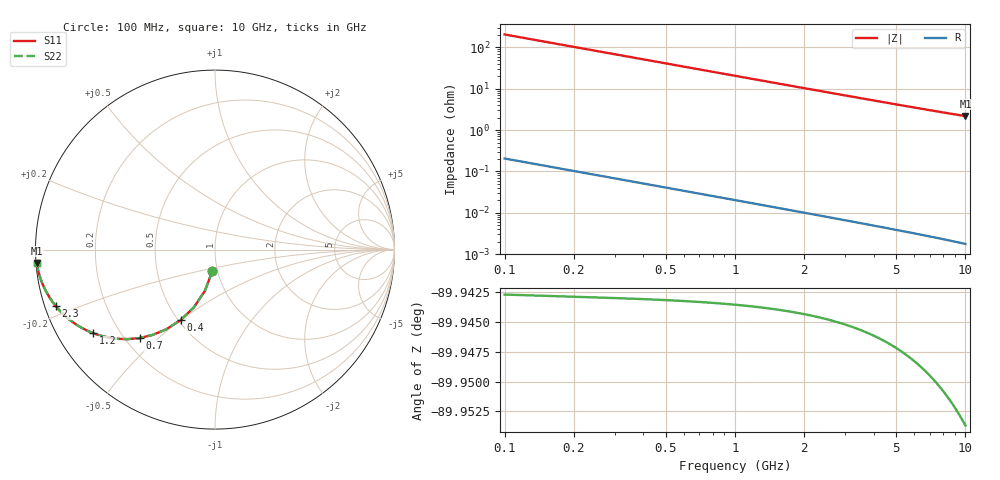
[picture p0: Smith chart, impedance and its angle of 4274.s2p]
# Hz S RI R 50.00
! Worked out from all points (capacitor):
!   100 points, 100 MHz to 10 GHz, reference 50 ohm
!   read as one part in shunt: C = 7.75 pF near 100 MHz
!   lowest |Z| = 2.18 ohm at 10 GHz (marker M1)
!   S11 on the Smith chart (normalised r, x): 100 MHz: 0.94, -0.23; 400 MHz: 0.51, -0.50; 700 MHz: 0.26, -0.44; 1.2 GHz: 0.11, -0.31; 2.3 GHz: 0.03, -0.17; 10 GHz: 0.00, -0.04
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1e8  -0.0147 -0.1199  0.9853 -0.12  0.9853 -0.12  -0.0147 -0.1199
2e8  -0.0562 -0.2296  0.9438 -0.2299  0.9438 -0.2299  -0.0562 -0.2296
3e8  -0.1179 -0.3218  0.8821 -0.3222  0.8821 -0.3222  -0.1179 -0.3218
4e8  -0.1918 -0.393  0.8081 -0.3935  0.8081 -0.3935  -0.1918 -0.393
5e8  -0.2704 -0.4434  0.7295 -0.444  0.7295 -0.444  -0.2704 -0.4434
6e8  -0.3479 -0.4755  0.6521 -0.4761  0.6521 -0.4761  -0.3479 -0.4755
7e8  -0.4205 -0.4927  0.5794 -0.4935  0.5794 -0.4935  -0.4205 -0.4927
9e8  -0.5451 -0.4969  0.4548 -0.498  0.4548 -0.498  -0.5451 -0.4969
1e9  -0.5966 -0.4895  0.4034 -0.4906  0.4034 -0.4906  -0.5966 -0.4895
1.2e9  -0.6803 -0.4652  0.3197 -0.4665  0.3197 -0.4665  -0.6803 -0.4652
1.3e9  -0.714 -0.4506  0.286 -0.4521  0.286 -0.4521  -0.714 -0.4506
1.5e9  -0.7686 -0.4204  0.2314 -0.4221  0.2314 -0.4221  -0.7686 -0.4204
1.8e9  -0.8269 -0.3768  0.1731 -0.3789  0.1731 -0.3789  -0.8269 -0.3768
2e9  -0.8549 -0.3505  0.145 -0.3528  0.145 -0.3528  -0.8549 -0.3505
2.3e9  -0.8862 -0.3158  0.1138 -0.3184  0.1138 -0.3184  -0.8862 -0.3158
2.8e9  -0.9201 -0.2689  0.0798 -0.2722  0.0798 -0.2722  -0.9201 -0.2689
3.4e9  -0.9443 -0.2268  0.0556 -0.2307  0.0556 -0.2307  -0.9443 -0.2268
4.2e9  -0.9628 -0.1863  0.0372 -0.1912  0.0372 -0.1912  -0.9628 -0.1863
5.1e9  -0.9744 -0.1543  0.0255 -0.1602  0.0255 -0.1602  -0.9744 -0.1543
6.7e9  -0.985 -0.1168  0.0149 -0.1247  0.0149 -0.1247  -0.985 -0.1168
8.4e9  -0.9905 -0.0914  0.00944 -0.1014  0.00944 -0.1014  -0.9905 -0.0914
1e10  -0.9933 -0.0747  0.00659 -0.0867  0.00659 -0.0867  -0.9933 -0.0747
